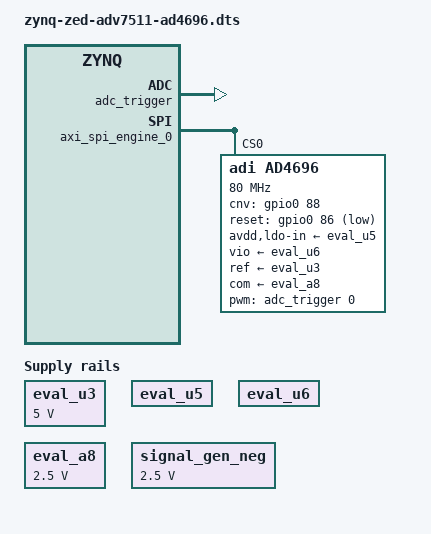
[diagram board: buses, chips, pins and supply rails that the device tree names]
// SPDX-License-Identifier: GPL-2.0
/*
 * Analog Devices EVAL-AD4696FMCZ
 * https://www.analog.com/en/products/ad4696.html
 *
 * hdl_project: <ad469x/zed>
 * board_revision: <?>
 *
 * Copyright (C) 2024 Analog Devices Inc.
 */
/dts-v1/;

#include <dt-bindings/dma/axi-dmac.h>
#include <dt-bindings/gpio/gpio.h>
#include <dt-bindings/interrupt-controller/irq.h>
#include <dt-bindings/iio/adc/adi,ad4695.h>

#include "zynq-zed.dtsi"
#include "zynq-zed-adv7511.dtsi"

/ {
	eval_u3: eval-board-u3-regulator {
		compatible = "regulator-fixed";
		regulator-name = "EVAL ADR4550 5.0V REFERENCE (U3)";
		regulator-min-microvolt = <5000000>;
		regulator-max-microvolt = <5000000>;
		regulator-always-on;
	};

	eval_u5: eval-board-u5-regulator {
		compatible = "regulator-fixed";
		regulator-name = "EVAL 12V/5V,-3.3V/-2.5V DUAL-LDO (U5)";
		regulator-always-on;
	};

	eval_u6: eval-board-u6-regulator {
		compatible = "regulator-fixed";
		regulator-name = "EVAL 5V/1.8V LDO (U6)";
		regulator-always-on;
	};

	eval_a8: eval-board-a8-voltage-divider {
		compatible = "regulator-fixed";
		regulator-name = "EVAL VREF/2 DIVIDER CIRCUIT (A8)";
		regulator-min-microvolt = <2500000>;
		regulator-max-microvolt = <2500000>;
		regulator-always-on;
	};

	signal_gen_neg: signal-generator-negative {
		compatible = "regulator-fixed";
		regulator-name = "Signal generator negative output";
		regulator-min-microvolt = <2500000>;
		regulator-max-microvolt = <2500000>;
		regulator-always-on;
	};
};

&fpga_axi {
	adc_trigger: pwm@44b00000 {
		compatible = "adi,axi-pwmgen-2.00.a";
		reg = <0x44b00000 0x1000>;
		#pwm-cells = <2>;
		clocks = <&spi_clk>;
	};

	rx_dma: rx-dmac@44a30000 {
		compatible = "adi,axi-dmac-1.00.a";
		reg = <0x44a30000 0x1000>;
		#dma-cells = <1>;
		interrupts = <0 57 IRQ_TYPE_LEVEL_HIGH>;
		clocks = <&clkc 15>;
	};

	spi_clk: clock-controller@44a70000 {
		compatible = "adi,axi-clkgen-2.00.a";
		reg = <0x44a70000 0x1000>;
		#clock-cells = <0>;
		clocks = <&clkc 15>, <&clkc 15>;
		clock-names = "clkin1", "s_axi_aclk";
		clock-output-names = "spi_clk";

		/* Set to 2x max SCLK. */
		assigned-clocks = <&spi_clk>;
		assigned-clock-rates = <160000000>;
	};

	axi_spi_engine_0: spi@44a00000 {
		compatible = "adi,axi-spi-engine-1.00.a";
		reg = <0x44a00000 0x1000>;
		interrupt-parent = <&intc>;
		interrupts = <0 56 IRQ_TYPE_LEVEL_HIGH>;
		clocks = <&clkc 15>, <&spi_clk>;
		clock-names = "s_axi_aclk", "spi_clk";

		dmas = <&rx_dma 0>;
		dma-names = "offload0-rx";
		/* 0 = BUSY, 0 = GP0 */
		trigger-sources = <&ad4696
				   AD4695_TRIGGER_EVENT_BUSY
				   AD4695_TRIGGER_PIN_GP0>;

		#address-cells = <1>;
		#size-cells = <0>;

		ad4696: adc@0 {
			compatible = "adi,ad4696";
			reg = <0>;
			spi-max-frequency = <80000000>;
			spi-cpha;
			spi-cpol;
			avdd-supply = <&eval_u5>;
			ldo-in-supply = <&eval_u5>;
			vio-supply = <&eval_u6>;
			ref-supply = <&eval_u3>;
			/* Not default: requires changing JP6 to A */
			com-supply = <&eval_a8>;
			in1-supply = <&signal_gen_neg>;
			/* default sample rate 10kHz = 100k ns */
			pwms = <&adc_trigger 0 100000>;
			cnv-gpios = <&gpio0 88 GPIO_ACTIVE_HIGH>;
			reset-gpios = <&gpio0 86 GPIO_ACTIVE_LOW>;

			#trigger-source-cells = <2>;

			#address-cells = <1>;
			#size-cells = <0>;

			channel@0 {
				reg = <0>;
				common-mode-channel = <1>;
				bipolar;
			};

			channel@3 {
				reg = <3>;
				common-mode-channel = <AD4695_COMMON_MODE_COM>;
				bipolar;
			};
		};
	};
};
